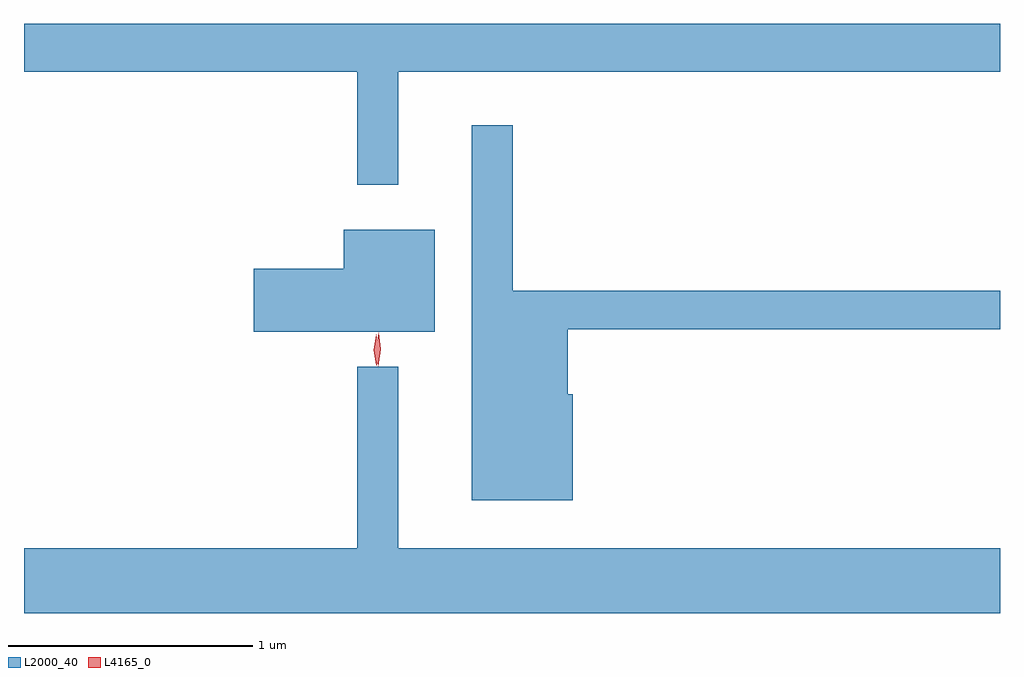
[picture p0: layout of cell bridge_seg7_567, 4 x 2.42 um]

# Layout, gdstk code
import gdstk
lib = gdstk.Library(unit=1e-6, precision=1e-09)
def P(c, l, *ps):  # polygons
    for p in ps: c.add(gdstk.Polygon(p, *l))
L2000_40 = (2000, 40)
L4165_0 = (4165, 0)

bridge_seg7_567 = lib.new_cell('bridge_seg7_567')
P(bridge_seg7_567, L2000_40, [(768.669,1796.456),(771.135,1796.456),(771.135,1796.654),(767.135,1796.654),(767.135,1796.456),(768.501,1796.456),(768.501,1795.993),(768.669,1795.993)],
  [(769.384,1795.134),(769.364,1795.134),(769.364,1795.401),(771.135,1795.401),(771.135,1795.559),(769.139,1795.559),(769.139,1796.238),(768.971,1796.238),(768.971,1794.701),(769.384,1794.701)],
  [(768.819,1795.809),(768.446,1795.809),(768.446,1795.649),(768.076,1795.649),(768.076,1795.391),(768.819,1795.391)],
  [(771.135,1794.504),(768.669,1794.504),(768.669,1795.248),(768.501,1795.248),(768.501,1794.504),(767.135,1794.504),(767.135,1794.236),(771.135,1794.236)])
P(bridge_seg7_567, L4165_0, [(768.579,1795.253),(768.579,1795.253),(768.569,1795.316),(768.578,1795.379),(768.579,1795.38),(768.579,1795.379),(768.589,1795.316),(768.58,1795.253)],
  [(768.586,1795.25),(768.578,1795.318),(768.588,1795.386),(768.588,1795.386),(768.589,1795.386),(768.598,1795.318),(768.587,1795.25),(768.587,1795.25)])

lib.write_gds('bridge_seg7_567.gds')
